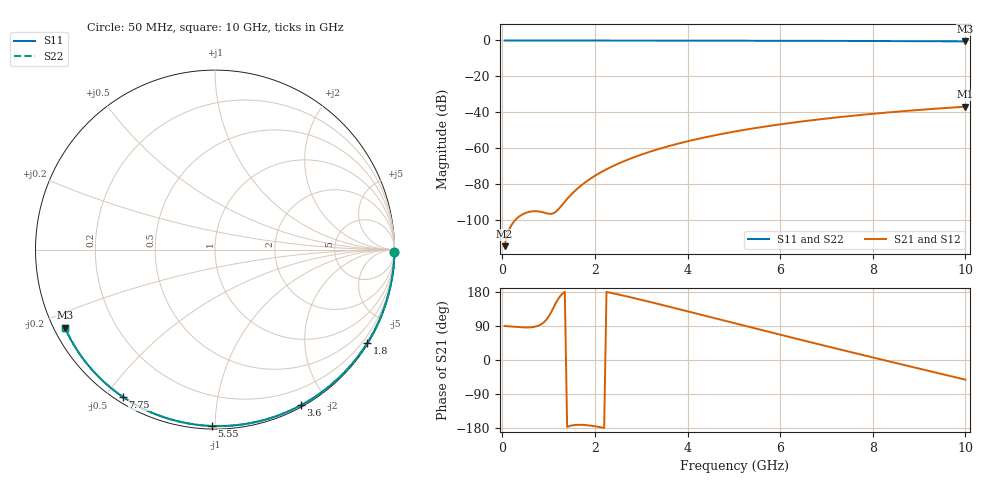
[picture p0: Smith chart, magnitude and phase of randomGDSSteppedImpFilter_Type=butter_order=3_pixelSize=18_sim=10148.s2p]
! freq	dB(S11)	phase(S11)	dB(S12)	phase(S12)
!  dB(S21)	phase(S21)	dB(S22)	phase(S22)
!S-par simulation data
#  GHz  S  DB  R 50
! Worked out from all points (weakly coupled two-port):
!   200 points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, 50 MHz to 10 GHz, reference 50 ohm
!   highest |S21| = -36.97 dB at 10 GHz (marker M1); lowest = -114.8 dB at 50 MHz (marker M2)
!   lowest |S11| = -0.5 dB at 10 GHz (marker M3), VSWR 33.82, Z = 1.57 - j12.2 ohm
!   |S11| at or under -10 dB: nowhere
!   |S22| runs from -0.5 to 0.0 dB; largest |S21 - S12| = 0
!   S11 on the Smith chart (normalised r, x): 50 MHz: open; 1.8 GHz: 0.03, -3.56; 3.6 GHz: 0.02, -1.69; 5.55 GHz: 0.02, -0.98; 7.75 GHz: 0.02, -0.55; 10 GHz: 0.03, -0.24
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0.05  -0.00 -0.9  -114.79 89.6  -114.79 89.6  -0.00 -0.9
0.45  -0.01 -8.0  -96.86 86.0  -96.86 86.0  -0.01 -8.0
0.9  -0.02 -15.9  -96.06 99.7  -96.06 99.7  -0.02 -15.9
1.3  -0.03 -22.8  -91.48 175.0  -91.48 175.0  -0.03 -22.8
1.75  -0.04 -30.6  -79.96 -171.3  -79.96 -171.3  -0.04 -30.6
1.8  -0.04 -31.4  -78.99 -171.7  -78.99 -171.7  -0.04 -31.4
1.95  -0.04 -34.0  -76.33 -173.9  -76.33 -173.9  -0.04 -34.0
2.1  -0.05 -36.5  -73.98 -176.9  -73.98 -176.9  -0.05 -36.5
2.3  -0.05 -39.9  -71.22 178.4  -71.22 178.4  -0.05 -39.9
2.5  -0.06 -43.2  -68.79 173.1  -68.79 173.1  -0.06 -43.2
2.9  -0.06 -49.8  -64.63 161.8  -64.63 161.8  -0.06 -49.8
3.4  -0.08 -58.0  -60.39 146.8  -60.39 146.8  -0.08 -58.0
3.6  -0.08 -61.2  -58.92 140.7  -58.92 140.7  -0.08 -61.2
4.3  -0.10 -72.2  -54.49 119.2  -54.49 119.2  -0.10 -72.2
5.05  -0.13 -83.6  -50.68 96.0  -50.68 96.0  -0.13 -83.6
5.55  -0.15 -91.0  -48.53 80.5  -48.53 80.5  -0.15 -91.0
6.1  -0.18 -98.9  -46.45 63.7  -46.45 63.7  -0.18 -98.9
6.7  -0.21 -107.4  -44.47 45.5  -44.47 45.5  -0.21 -107.4
7.75  -0.28 -122.0  -41.54 14.1  -41.54 14.1  -0.28 -121.9
8.35  -0.33 -130.1  -40.12 -3.6  -40.12 -3.6  -0.33 -130.1
9.2  -0.42 -141.6  -38.37 -28.5  -38.37 -28.5  -0.42 -141.6
10  -0.51 -152.5  -36.97 -51.9  -36.97 -51.9  -0.51 -152.5
